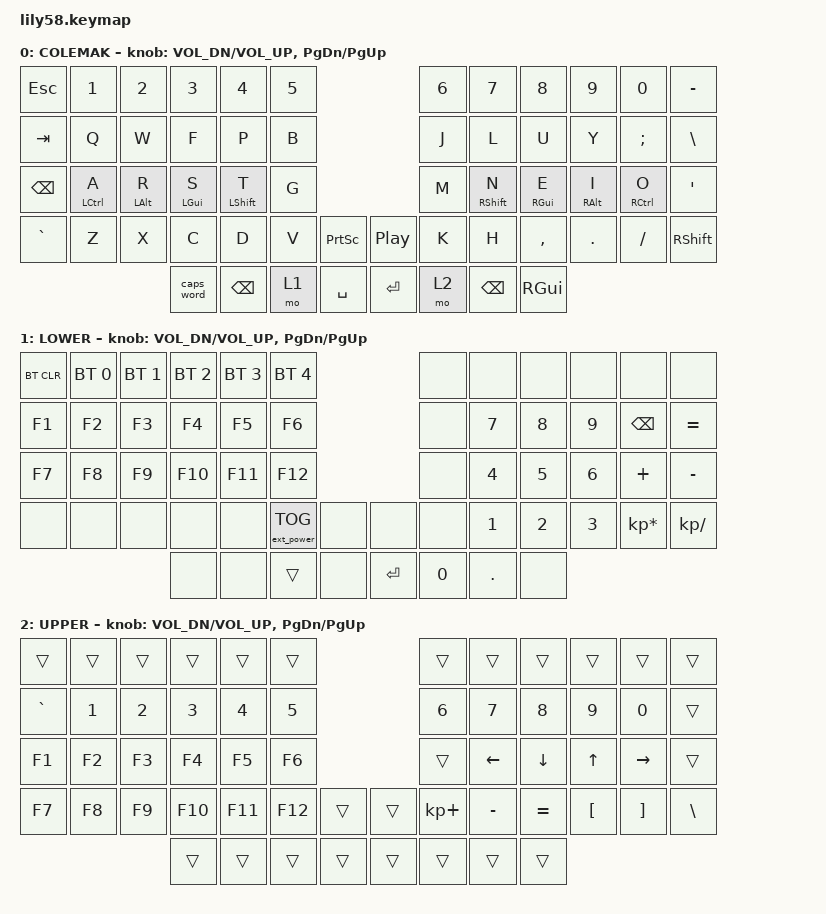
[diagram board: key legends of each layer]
/*
 * Copyright (c) 2020 The ZMK Contributors
 *
 * SPDX-License-Identifier: MIT
 */

#include <behaviors.dtsi>
#include <dt-bindings/zmk/bt.h>
#include <dt-bindings/zmk/ext_power.h>
#include <dt-bindings/zmk/keys.h>

/*
Revisions:
1.0
    - Added homerow mod (CAGS) on left hand base layer
    - Added backspace to left hand
    - added ` to left hand
1.1
    - added backspace to left thumb
    - added homerow mod (SGAC) on right hand base layer 
    - right encoder click will play/pause media
    - left encoder click will printscreen
    - right encoder wheel does page up/down
    - added backslash and minus to right side
    - Lower layer has FN keys on left hand and numpad on right hand
        - moved display power toggle on left hand
    - NOTE: Upper layer is not used at this point and is set to stock configs
1.2
    - Added caps_word to left hand

*/

/ {

	behaviors {
	// https://zmk.dev/docs/keymaps/behaviors/hold-tap?examples=homerow_mods
        bhm: balanced_homerow_mods {
            compatible = "zmk,behavior-hold-tap";
            #binding-cells = <2>;
            tapping-term-ms = <200>;    // <---[[moderate duration]]
            quick-tap-ms = <0>;
            flavor = "balanced";
            bindings = <&kp>, <&kp>;
        };
    };


	sensors: sensors {
        compatible = "zmk,keymap-sensors";
        sensors = <&left_encoder &right_encoder>;
        triggers-per-rotation = <20>;
    };



    keymap {
        compatible = "zmk,keymap";

 	default_layer {
            // ------------------------------------------------------------------------------------------------------------
            // |  ESC  |  1  |  2  |   3  |  4   |  5   |                           |  6   |  7    |  8    |  9   |   0   |   -   |
            // |  TAB  |  Q  |  W  |   F  |  P   |  B   |                           |  J   |  L    |  U    |  Y   |   ;   |   \   |
            // |  BSPC |  A  |  R  |   S  |  T   |  G   |                           |  M   |  N    |  E    |  I   |   O   |   '   |
            // |   `   |  Z  |  X  |  C   |  D   |  V   |  PSCRN  |  |  Play/Pause  |  K   |  H    |  ,    |  .   |   /   | SHIFT |
            //                     | CAPS | BSPC | LOWER|  SPACE  |  | ENTER        | RAISE| BSPC  | GUI   |


            bindings = <
&kp ESC   &kp N1       &kp N2      &kp N3        &kp N4          &kp N5                           &kp N6  &kp N7        &kp N8      &kp N9      &kp N0         &kp MINUS
&kp TAB   &kp Q        &kp W       &kp F         &kp P           &kp B                            &kp J   &kp L         &kp U       &kp Y       &kp SEMICOLON  &kp BACKSLASH
&kp BSPC  &bhm LCTL A  &bhm LALT R &bhm LGUI S   &bhm LSHFT T    &kp G                            &kp M   &bhm RSHFT N  &bhm RGUI E &bhm RALT I &bhm RCTL O    &kp SQT
&kp GRAVE &kp Z        &kp X       &kp C         &kp D           &kp V     &kp PSCRN    &kp C_PP  &kp K   &kp H         &kp COMMA   &kp DOT     &kp FSLH       &kp RSHFT
                                   &caps_word    &kp BSPC        &mo 1     &kp SPACE    &kp RET   &mo 2   &kp BSPC      &kp RGUI
            >;

            sensor-bindings = <&inc_dec_kp C_VOL_DN C_VOL_UP &inc_dec_kp PG_DN PG_UP>;
            display-name = "COLEMAK";
        };

        lower_layer {
            // ------------------------------------------------------------------------------------------------------------
            // | BTCLR | BT1 | BT2 |  BT3 |  BT4  |  BT5  |                   |      |       |       |      |       |       |
            // |  F1   |  F2 |  F3 |  F4  |  F5   |  F6   |                   |      |  7    |  8    |  9   |       |       |
            // |  F7   |  F8 |  F9 |  F10 |  F11  |  F12  |                   |      |  4    |  5    |  6   |   +   |   -   |
            // |       |     |     |      |       | power |        |  |       |      |  1    |  2    |  3   |   *   |   /   |
            //                     |      | LOWER |       |        |  | ENTER |  0   |  .    |       |

            bindings = <
&bt BT_CLR  &bt BT_SEL 0      &bt BT_SEL 1    &bt BT_SEL 2       &bt BT_SEL 3  &bt BT_SEL 4                           &none    &none     &none    &none    &none           &none
&kp F1      &kp F2            &kp F3          &kp F4             &kp F5        &kp F6                                 &none    &kp N7    &kp N8   &kp N9   &kp BSPC        &kp EQUAL
&kp F7      &kp F8            &kp F9          &kp F10            &kp F11       &kp F12                                &none    &kp N4    &kp N5   &kp N6   &kp PLUS        &kp MINUS
&none       &none             &none           &none              &none         &ext_power EP_TOG &none       &none    &none    &kp N1    &kp N2   &kp N3   &kp KP_MULTIPLY &kp KP_DIVIDE
                                              &none              &none         &trans            &none       &kp RET  &kp N0   &kp DOT   &none
            >;

            sensor-bindings = <&inc_dec_kp C_VOL_DN C_VOL_UP &inc_dec_kp PG_DN PG_UP>;
            display-name = "LOWER";
        };

        raise_layer {
            // ------------------------------------------------------------------------------------------------------------
            // |       |     |     |      |      |      |                   |      |       |       |      |       |       |
            // |   `   |  1  |  2  |  3   |  4   |  5   |                   |  6   |   7   |   8   |  9   |   0   |       |
            // |   F1  |  F2 |  F3 |  F4  |  F5  |  F6  |                   |      |   <-  |   v   |  ^   |  ->   |       |
            // |   F7  |  F8 |  F9 |  F10 |  F11 |  F12 |        |  |       |  +   |   -   |   =   |  [   |   ]   |   \   |
            //                     |      |      |      |        |  |       |      |       |       |

            bindings = <
&trans     &trans  &trans  &trans   &trans   &trans                     &trans       &trans     &trans     &trans    &trans     &trans
&kp GRAVE  &kp N1  &kp N2  &kp N3   &kp N4   &kp N5                     &kp N6       &kp N7     &kp N8     &kp N9    &kp N0     &trans
&kp F1     &kp F2  &kp F3  &kp F4   &kp F5   &kp F6                     &trans       &kp LEFT   &kp DOWN   &kp UP    &kp RIGHT  &trans
&kp F7     &kp F8  &kp F9  &kp F10  &kp F11  &kp F12  &trans    &trans  &kp KP_PLUS  &kp MINUS  &kp EQUAL  &kp LBKT  &kp RBKT   &kp BSLH
                           &trans   &trans   &trans   &trans    &trans  &trans       &trans     &trans
            >;

            sensor-bindings = <&inc_dec_kp C_VOL_DN C_VOL_UP &inc_dec_kp PG_DN PG_UP>;
            display-name = "UPPER";
        };
    };
};
